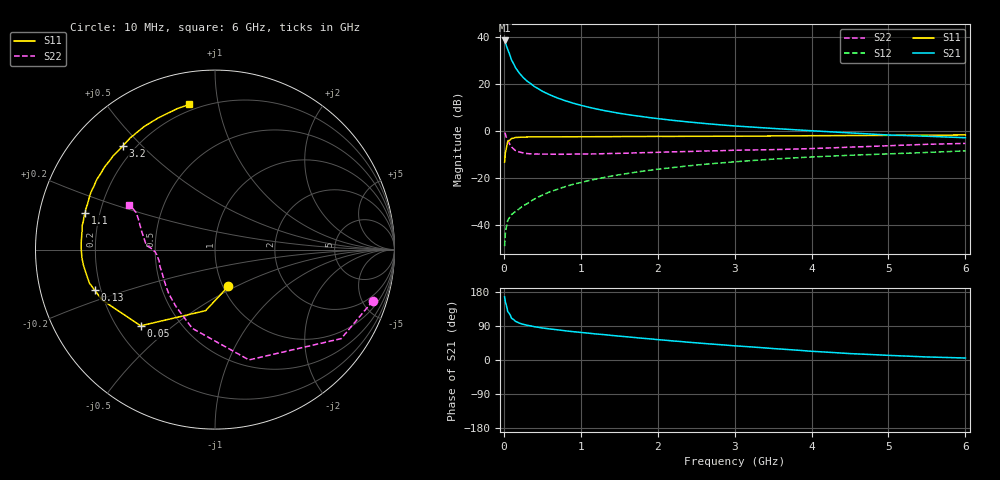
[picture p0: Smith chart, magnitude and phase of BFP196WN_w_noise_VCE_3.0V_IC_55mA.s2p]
! Infineon Technologies  Discrete & RF Semiconductors
! BFP196WN
! VCE =  3.0 V,  IC =  55 mA
! Common Emitter S-Parameters:  Jan 2017
# GHz  S  MA  R  50
!  f  S11  S21  S12  S22
! GHz  MAG  ANG  MAG  ANG  MAG  ANG  MAG  ANG
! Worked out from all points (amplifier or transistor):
!   77 points, 10 MHz to 6 GHz, reference 50 ohm
!   highest |S21| = 38.6 dB at 10 MHz (marker M1)
!   |S21| within 3 dB of that: start of sweep to 40.71 MHz
!   unconditionally stable (mu >= 1): 588.1 MHz to 2.726 GHz
!   at 130 MHz: K = 0.60, MSG = 31.6 dB, |S12| = -34.8 dB
!   at 2.2 GHz: K = 1.02, MAG = 9.2 dB, |S12| = -15.6 dB
!   at 6 GHz: K = 0.93, MSG = 2.8 dB, |S12| = -8.5 dB
!   lowest NFmin = 1.34 dB at 450 MHz
!   S11 on the Smith chart (normalised r, x): 10 MHz: 1.06, -0.45; 50 MHz: 0.30, -0.39; 130 MHz: 0.18, -0.16; 1.1 GHz: 0.14, +0.14; 3.2 GHz: 0.15, +0.44; 6 GHz: 0.17, +0.83
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0.01  0.2174 -69.9  84.73 166.6  0.0035 74.5  0.9247 -18.0
0.02  0.344 -98.7  76.47 153.4  0.0066 69.6  0.8604 -35.2
0.05  0.5931 -134.3  54.61 127.9  0.0122 52.6  0.6431 -72.9
0.1  0.689 -156.0  32.33 110.2  0.0165 49.9  0.4567 -106.1
0.13  0.7079 -161.5  26.42 106.2  0.0181 50.6  0.4076 -116.5
0.15  0.724 -165.0  22.59 102.3  0.0191 51.0  0.3838 -124.7
0.2  0.7316 -170.1  17.16 97.5  0.0219 55.2  0.3563 -136.2
0.25  0.7387 -173.5  13.84 94.2  0.0254 57.0  0.3403 -143.6
0.3  0.7428 -176.4  11.6 91.7  0.028 59.7  0.3296 -149.6
0.4  0.7452 179.8  8.758 87.7  0.0356 64.0  0.3221 -156.6
0.5  0.7464 176.8  7.018 84.6  0.0428 66.4  0.3206 -161.6
0.6  0.7467 174.2  5.862 81.9  0.0506 67.5  0.3201 -165.3
0.7  0.7477 172.0  5.019 79.6  0.0573 68.6  0.3175 -167.8
0.9  0.7504 167.7  3.905 74.8  0.0728 69.7  0.3209 -171.2
1.1  0.752 164.1  3.208 70.8  0.0872 68.7  0.323 -174.0
1.5  0.7586 157.4  2.378 63.0  0.1165 66.8  0.3328 -177.7
2.1  0.7649 147.8  1.754 52.1  0.1593 62.7  0.3544 179.1
3.1  0.7717 132.9  1.246 36.1  0.2258 54.4  0.3901 174.2
3.2  0.7734 131.5  1.216 34.7  0.232 53.5  0.3923 173.4
4.1  0.7919 118.6  0.988 21.9  0.2833 45.6  0.4264 164.7
5.1  0.8063 107.8  0.809 11.4  0.3289 37.9  0.4903 154.6
6  0.8213 100.0  0.716 5.2  0.3757 32.0  0.5417 152.4
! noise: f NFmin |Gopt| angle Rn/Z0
0.45  1.34  0.54  -177  0.05
0.9  1.44  0.57  -170  0.06
1.9  2.36  0.69  -147  0.17
2.4  3.11  0.7  -140  0.29
